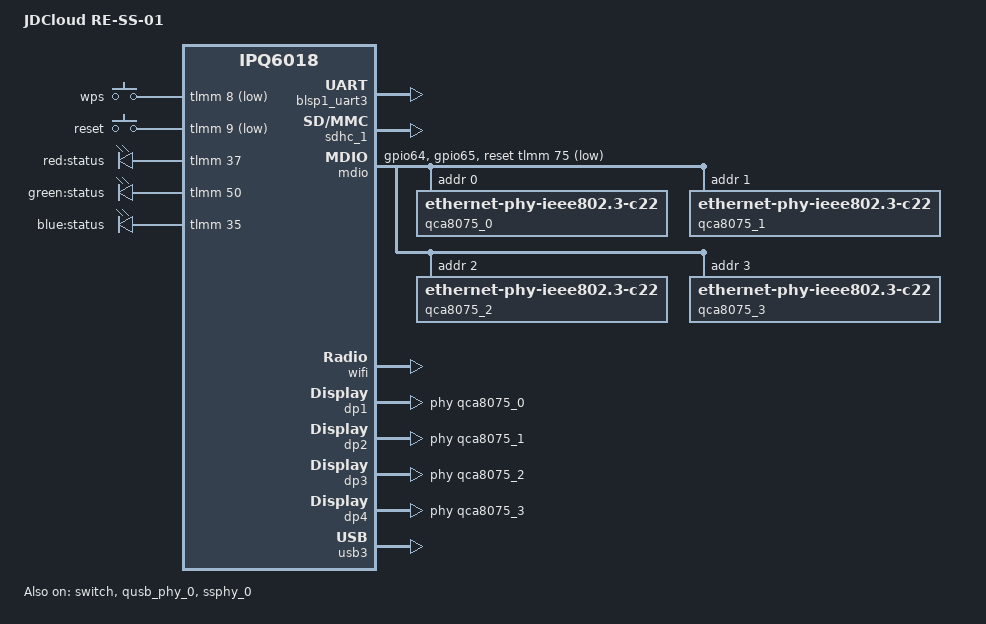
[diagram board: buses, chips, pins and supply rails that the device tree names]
/dts-v1/;

#include "ipq6018.dtsi"
#include "ipq6018-512m.dtsi"
#include "ipq6018-ess.dtsi"
#include "ipq6018-nss.dtsi"

#include <dt-bindings/gpio/gpio.h>
#include <dt-bindings/input/input.h>
#include <dt-bindings/leds/common.h>

/ {
	model = "JDCloud RE-SS-01";
	compatible = "jdcloud,re-ss-01", "qcom,ipq6018-cp03", "qcom,ipq6018";

	aliases {
		serial0 = &blsp1_uart3;
		led-boot = &led_status_blue;
		led-failsafe = &led_status_red;
		led-running = &led_status_green;
		led-upgrade = &led_status_red;

		ethernet0 = &dp1;
		ethernet1 = &dp2;
		ethernet2 = &dp3;
		ethernet3 = &dp4;
	};

	chosen {
		stdout-path = "serial0:115200n8";
	};

	keys {
		compatible = "gpio-keys";
		pinctrl-0 = <&button_pins>;
		pinctrl-names = "default";

		wps {
			label = "wps";
			linux,code = <KEY_WPS_BUTTON>;
			gpios = <&tlmm 8 GPIO_ACTIVE_LOW>;
		};

		reset {
			label = "reset";
			linux,code = <KEY_RESTART>;
			gpios = <&tlmm 9 GPIO_ACTIVE_LOW>;
		};
	};

	leds {
		compatible = "gpio-leds";
		pinctrl-0 = <&leds_pins>;
		pinctrl-names = "default";

		led_status_red: red {
			label = "red:status";
			gpios = <&tlmm 37 GPIO_ACTIVE_HIGH>;
		};

		led_status_green: green {
			label = "green:status";
			gpios = <&tlmm 50 GPIO_ACTIVE_HIGH>;
		};

		led_status_blue: blue {
			label = "blue:status";
			gpios = <&tlmm 35 GPIO_ACTIVE_HIGH>;
		};
	};
};

&tlmm {
	gpio-reserved-ranges = <20 1>;
	compatible = "qcom,ipq6018-pinctrl";

	button_pins: button-pins {
		mux {
			pins = "gpio8", "gpio9";
			function = "gpio";
			drive-strength = <8>;
			bias-pull-up;
		};
	};

	leds_pins: leds-pins {
		mux {
			pins = "gpio35", "gpio37", "gpio50";
			function = "gpio";
			drive-strength = <8>;
			bias-pull-down;
		};
	};

	mdio_pins: mdio-pins {
		mdc {
			pins = "gpio64";
			function = "mdc";
			drive-strength = <8>;
			bias-pull-up;
		};

		mdio {
			pins = "gpio65";
			function = "mdio";
			drive-strength = <8>;
			bias-pull-up;
		};
	};
};

&blsp1_uart3 {
	status = "okay";

	pinctrl-0 = <&serial_3_pins>;
	pinctrl-names = "default";
};

&sdhc_1 {
	status = "okay";

	/delete-property/ mmc-hs400-1_8v;
	mmc-hs200-1_8v;
	mmc-ddr-1_8v;
};

&mdio {
	status = "okay";

	pinctrl-0 = <&mdio_pins>;
	pinctrl-names = "default";
	reset-gpios = <&tlmm 75 GPIO_ACTIVE_LOW>;

	qca8075_0: ethernet-phy@0 {
		compatible = "ethernet-phy-ieee802.3-c22";
		reg = <0>;
	};

	qca8075_1: ethernet-phy@1 {
		compatible = "ethernet-phy-ieee802.3-c22";
		reg = <1>;
	};

	qca8075_2: ethernet-phy@2 {
		compatible = "ethernet-phy-ieee802.3-c22";
		reg = <2>;
	};

	qca8075_3: ethernet-phy@3 {
		compatible = "ethernet-phy-ieee802.3-c22";
		reg = <3>;
	};
};

&switch {
	status = "okay";

	switch_lan_bmp = <0x1e>;
	switch_wan_bmp = <0x20>;
	switch_mac_mode = <0x00>;
	switch_mac_mode1 = <0xff>;
	switch_mac_mode2 = <0xff>;

	qcom,port_phyinfo {
		port@0 {
			port_id = <0x01>;
			phy_address = <0x00>;
		};

		port@1 {
			port_id = <0x02>;
			phy_address = <0x01>;
		};

		port@2 {
			port_id = <0x03>;
			phy_address = <0x02>;
		};

		port@3 {
			port_id = <0x04>;
			phy_address = <0x03>;
		};
	};
};

&wifi {
	status = "okay";
	qcom,ath11k-fw-memory-mode = <1>;
	qcom,ath11k-calibration-variant = "JDC-AX1800-Pro";
};

&dp1 {
	status = "okay";
	phy-handle = <&qca8075_0>;
	label = "lan1";
};

&dp2 {
	status = "okay";
	phy-handle = <&qca8075_1>;
	label = "lan2";
};

&dp3 {
	status = "okay";
	phy-handle = <&qca8075_2>;
	label = "lan3";
};

&dp4 {
	status = "okay";
	phy-handle = <&qca8075_3>;
	label = "wan";
};

&rpm {
	status = "disabled";
};

&edma {
	status = "okay";
};

&usb3 {
	status = "okay";
};

&qusb_phy_0 {
	status = "okay";
};

&ssphy_0 {
	status = "okay";
};

&CPU0 {
	/delete-property/ cpu-supply;
};

&CPU1 {
	/delete-property/ cpu-supply;
};

&CPU2 {
	/delete-property/ cpu-supply;
};

&CPU3 {
	/delete-property/ cpu-supply;
};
